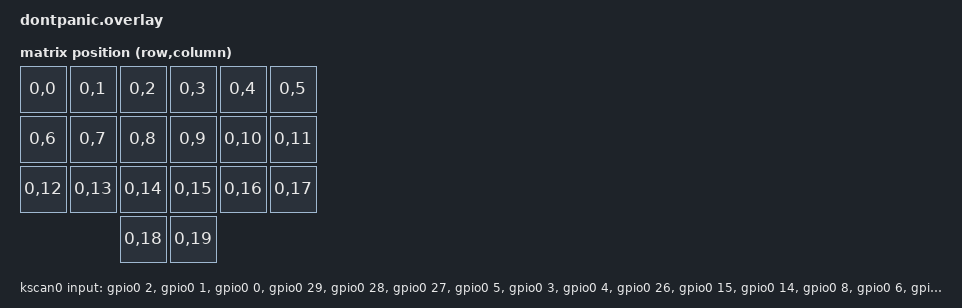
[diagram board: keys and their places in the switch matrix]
/*
 * Copyright (c) 2024 miketronic
 * SPDX-License-Identifier: MIT
 */

#include <dt-bindings/zmk/matrix_transform.h>


/ {
	chosen {
		zmk,kscan = &kscan0;
		zmk,matrix_transform = &default_transform;
	};

	kscan0: kscan {
		compatible = "zmk,kscan-gpio-direct";
                input-gpios
                = <&gpio0 2 (GPIO_ACTIVE_LOW | GPIO_PULL_UP)> //W
                , <&gpio0 1 (GPIO_ACTIVE_LOW | GPIO_PULL_UP)> //F
                , <&gpio0 0 (GPIO_ACTIVE_LOW | GPIO_PULL_UP)> //G  
                , <&gpio0 29 (GPIO_ACTIVE_LOW | GPIO_PULL_UP)> //M
                , <&gpio0 28 (GPIO_ACTIVE_LOW | GPIO_PULL_UP)> //L 
                , <&gpio0 27 (GPIO_ACTIVE_LOW | GPIO_PULL_UP)> //U
                , <&gpio0 5 (GPIO_ACTIVE_LOW | GPIO_PULL_UP)>  //A
                , <&gpio0 3 (GPIO_ACTIVE_LOW | GPIO_PULL_UP)>  //R
                , <&gpio0 4 (GPIO_ACTIVE_LOW | GPIO_PULL_UP)>  //S
                , <&gpio0 26 (GPIO_ACTIVE_LOW | GPIO_PULL_UP)> //N
                , <&gpio0 15 (GPIO_ACTIVE_LOW | GPIO_PULL_UP)> //E
                , <&gpio0 14 (GPIO_ACTIVE_LOW | GPIO_PULL_UP)> //I
                , <&gpio0 8 (GPIO_ACTIVE_LOW | GPIO_PULL_UP)>  //C
                , <&gpio0 6 (GPIO_ACTIVE_LOW | GPIO_PULL_UP)>  //D
                , <&gpio0 7 (GPIO_ACTIVE_LOW | GPIO_PULL_UP)>  //T
                , <&gpio0 12 (GPIO_ACTIVE_LOW | GPIO_PULL_UP)> //H
                , <&gpio0 13 (GPIO_ACTIVE_LOW | GPIO_PULL_UP)> //O
                , <&gpio0 11 (GPIO_ACTIVE_LOW | GPIO_PULL_UP)> //Y
                , <&gpio0 9 (GPIO_ACTIVE_LOW | GPIO_PULL_UP)>  //SPC
                , <&gpio0 10 (GPIO_ACTIVE_LOW | GPIO_PULL_UP)> //ENT
                ;
	};

	default_transform: keymap_transform_0 {
		compatible = "zmk,matrix-transform";
		columns = <20>;
		rows = <1>;
		map = <
	            RC(0,0)  RC(0,1)    RC(0,2)  		RC(0,3)  RC(0,4)   RC(0,5)
		    RC(0,6)  RC(0,7)    RC(0,8)  		RC(0,9)  RC(0,10)  RC(0,11)
                    RC(0,12) RC(0,13)   RC(0,14)  		RC(0,15) RC(0,16)  RC(0,17)
		                             RC(0,18)           RC(0,19)
		>;
	};

};
